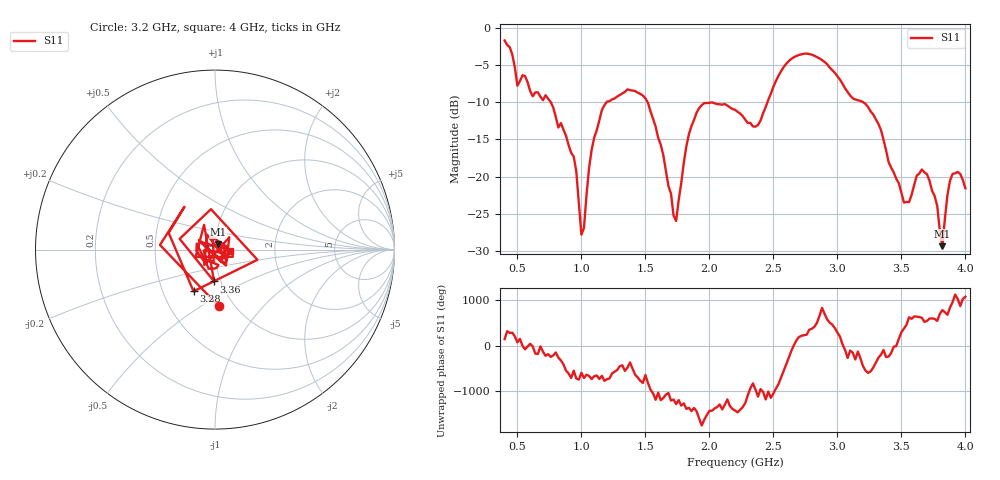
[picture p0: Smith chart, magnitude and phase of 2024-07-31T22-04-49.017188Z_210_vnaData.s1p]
!Created with skrf (http://scikit-rf.org).
# Hz S RI R 50.0
!freq ReS11 ImS11
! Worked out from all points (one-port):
!   181 points, 400 MHz to 4 GHz, reference 50 ohm
!   lowest |S11| = -29.3 dB at 3.82 GHz (marker M1), VSWR 1.07, Z = 51.7 + j3.06 ohm
!   |S11| at or under -10 dB: 760.6 MHz to 1.197 GHz (436.3 MHz wide, 44.6 % of centre); 1.517 GHz to 2.454 GHz (936.4 MHz wide, 47.2 % of centre); 3.201 GHz to end of sweep
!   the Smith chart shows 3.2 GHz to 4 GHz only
!   S11 on the Smith chart (normalised r, x): 3.2 GHz: 0.85, -0.60; 3.28 GHz: 0.71, -0.36; 3.36 GHz: 0.93, -0.34; 4 GHz: 1.18, -0.02
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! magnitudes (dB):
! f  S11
! 400 MHz  -1.7
! 500 MHz  -7.8
! 720 MHz  -9.1
! 860 MHz  -13.7
! 960 MHz  -19.3
! 1 GHz  -27.8
! 1.1 GHz  -14.7
! 1.18 GHz  -10.4
! 1.3 GHz  -9.0
! 1.52 GHz  -10.1
! 1.72 GHz  -25.2
! 1.76 GHz  -23.1
! 1.84 GHz  -14.3
! 1.92 GHz  -10.8
! 2.2 GHz  -11.0
! 2.38 GHz  -13.1
! 2.66 GHz  -4.0
! 2.88 GHz  -4.4
! 3.1 GHz  -9.1
! 3.2 GHz  -10.0
! 3.28 GHz  -11.7
! 3.36 GHz  -15.0
! 3.56 GHz  -23.4
! 3.7 GHz  -19.7
! 3.78 GHz  -23.9
! 3.82 GHz  -29.3
! 3.9 GHz  -19.6
! 4 GHz  -21.6
